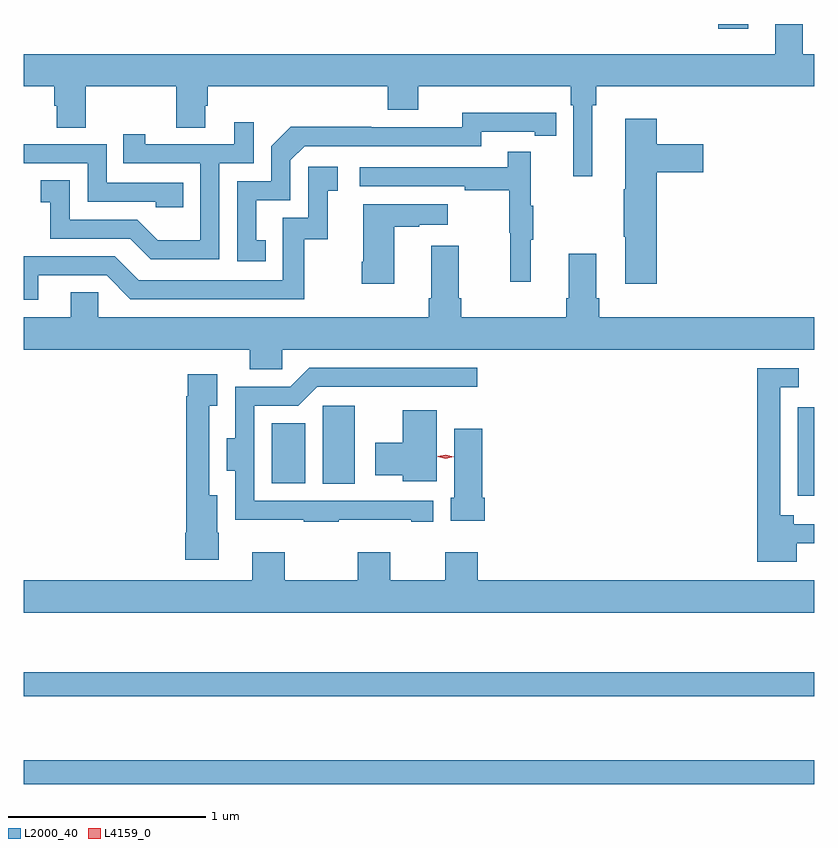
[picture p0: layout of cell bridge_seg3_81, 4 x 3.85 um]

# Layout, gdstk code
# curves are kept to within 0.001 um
import gdstk
lib = gdstk.Library(unit=1e-6, precision=1e-09)
def R(c, l, rs):  # rectangles x0, y0, x1, y1
    for r in rs: c.add(gdstk.rectangle(r[:2], r[2:], *l))
def P(c, l, *ps):  # polygons
    for p in ps: c.add(gdstk.Polygon(p, *l))
L2000_40 = (2000, 40)
L4159_0 = (4159, 0)

bridge_seg3_81 = lib.new_cell('bridge_seg3_81')
R(bridge_seg3_81, L2000_40, [(453.337,673.41,457.337,673.531), (453.337,673.854,457.337,673.975), (457.253,674.868,457.337,675.316), (454.85,674.929,455.011,675.325), (454.592,674.933,454.762,675.235), (456.851,677.232,457.003,677.256)])
P(bridge_seg3_81, L2000_40, [(456.214,676.844),(456.233,676.844),(456.233,676.94),(457.337,676.94),(457.337,677.104),(457.279,677.104),(457.279,677.256),(457.139,677.256),(457.139,677.104),(453.337,677.104),(453.337,676.94),(453.491,676.94),(453.491,676.842),(453.503,676.842),(453.503,676.732),(453.651,676.732),(453.651,676.94),(454.108,676.94),(454.108,676.732),(454.255,676.732),(454.255,676.842),(454.268,676.842),(454.268,676.94),(455.18,676.94),(455.18,676.823),(455.332,676.823),(455.332,676.94),(456.104,676.94),(456.104,676.844),(456.117,676.844),(456.117,676.485),(456.214,676.485)],
  [(454.562,676.161),(454.513,676.161),(454.513,676.365),(454.686,676.365),(454.686,676.566),(454.758,676.638),(455.652,676.638),(455.652,676.71),(455.924,676.71),(455.924,676.69),(456.032,676.69),(456.032,676.806),(455.556,676.807),(455.556,676.734),(455.096,676.734),(455.096,676.736),(454.688,676.736),(454.59,676.638),(454.59,676.461),(454.416,676.461),(454.416,676.056),(454.562,676.056)],
  [(456.539,676.505),(456.775,676.505),(456.775,676.647),(456.539,676.647),(456.539,676.777),(456.38,676.777),(456.38,676.421),(456.373,676.421),(456.373,676.18),(456.38,676.18),(456.38,675.942),(456.539,675.942)],
  [(454.326,676.551),(454.5,676.551),(454.5,676.759),(454.403,676.759),(454.403,676.647),(453.952,676.647),(453.952,676.699),(453.841,676.699),(453.841,676.551),(454.23,676.551),(454.23,676.162),(454.016,676.162),(453.912,676.266),(453.57,676.266),(453.57,676.465),(453.423,676.465),(453.423,676.355),(453.472,676.355),(453.472,676.17),(453.875,676.17),(453.98,676.065),(454.326,676.065)],
  [(454.145,676.452),(453.756,676.452),(453.756,676.647),(453.337,676.647),(453.337,676.551),(453.66,676.551),(453.66,676.356),(454.005,676.356),(454.005,676.329),(454.145,676.329)],
  [(455.903,676.163),(455.914,676.163),(455.914,676.337),(455.903,676.337),(455.903,676.609),(455.785,676.609),(455.785,676.53),(455.037,676.53),(455.037,676.434),(455.569,676.434),(455.569,676.414),(455.793,676.414),(455.793,676.2),(455.8,676.2),(455.8,675.951),(455.903,675.951)],
  [(453.409,675.984),(453.756,675.984),(453.876,675.864),(454.756,675.864),(454.756,676.167),(454.874,676.167),(454.874,676.413),(454.927,676.413),(454.927,676.534),(454.776,676.534),(454.776,676.275),(454.647,676.275),(454.647,675.96),(453.918,675.96),(453.798,676.08),(453.337,676.08),(453.337,675.861),(453.409,675.861)],
  [(455.212,676.231),(455.339,676.231),(455.339,676.241),(455.482,676.241),(455.482,676.345),(455.054,676.345),(455.054,676.054),(455.047,676.054),(455.047,675.942),(455.212,675.942)],
  [(454.644,675.608),(457.337,675.608),(457.337,675.772),(456.248,675.772),(456.248,675.868),(456.235,675.868),(456.235,676.093),(456.095,676.093),(456.095,675.868),(456.083,675.868),(456.083,675.772),(455.552,675.772),(455.552,675.868),(455.539,675.868),(455.539,676.135),(455.399,676.135),(455.399,675.868),(455.387,675.868),(455.387,675.772),(453.714,675.772),(453.714,675.899),(453.575,675.899),(453.575,675.772),(453.337,675.772),(453.337,675.608),(454.481,675.608),(454.481,675.51),(454.644,675.51)],
  [(454.931,674.747),(455.297,674.747),(455.297,674.736),(455.41,674.736),(455.41,674.844),(454.503,674.844),(454.503,675.324),(454.725,675.324),(454.821,675.42),(455.632,675.42),(455.632,675.516),(454.782,675.516),(454.686,675.42),(454.406,675.42),(454.406,675.16),(454.364,675.16),(454.364,674.996),(454.407,674.996),(454.407,674.747),(454.753,674.747),(454.753,674.736),(454.931,674.736)],
  [(457.249,674.628),(457.337,674.628),(457.337,674.724),(457.234,674.724),(457.234,674.77),(457.164,674.77),(457.164,675.417),(457.258,675.417),(457.258,675.513),(457.048,675.513),(457.048,674.534),(457.249,674.534)],
  [(454.324,674.682),(454.315,674.682),(454.315,674.872),(454.275,674.872),(454.275,675.323),(454.315,675.323),(454.315,675.484),(454.167,675.484),(454.167,675.371),(454.159,675.371),(454.159,674.682),(454.154,674.682),(454.154,674.546),(454.324,674.546)],
  [(455.428,675.301),(455.255,675.301),(455.255,675.136),(455.115,675.136),(455.115,674.972),(455.255,674.972),(455.255,674.942),(455.428,674.942)],
  [(455.669,674.859),(455.657,674.859),(455.657,675.208),(455.516,675.208),(455.516,674.859),(455.498,674.859),(455.498,674.741),(455.669,674.741)],
  [(457.337,674.44),(455.635,674.44),(455.635,674.584),(455.471,674.584),(455.471,674.44),(455.191,674.44),(455.191,674.584),(455.027,674.584),(455.027,674.44),(454.657,674.44),(454.657,674.584),(454.493,674.584),(454.493,674.44),(453.337,674.44),(453.337,674.276),(457.337,674.276)])
P(bridge_seg3_81, L4159_0, [(455.472,675.057),(455.432,675.067),(455.432,675.067),(455.432,675.068),(455.472,675.077),(455.513,675.067),(455.513,675.067),(455.513,675.067)])

lib.write_gds('bridge_seg3_81.gds')
